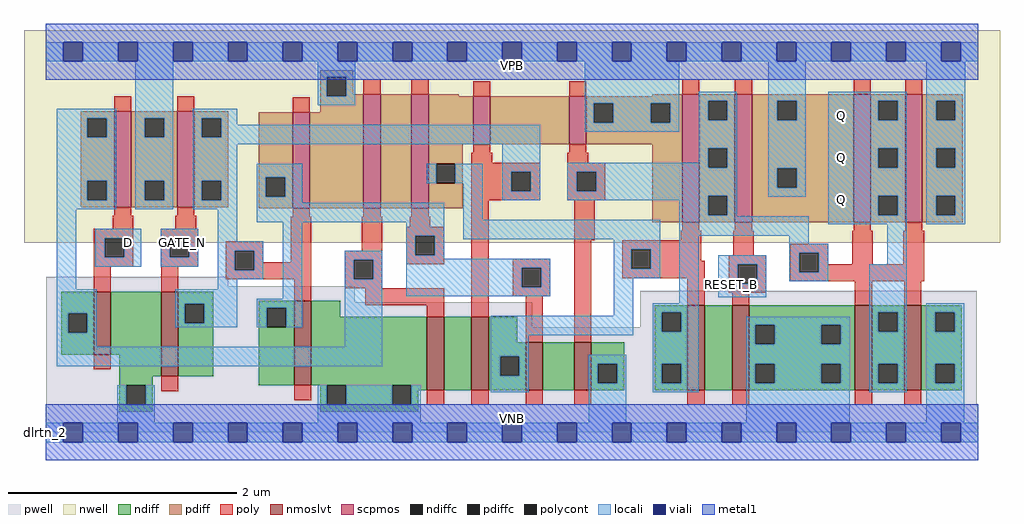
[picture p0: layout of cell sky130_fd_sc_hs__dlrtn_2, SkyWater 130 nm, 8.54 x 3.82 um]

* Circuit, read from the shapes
.subckt sky130_fd_sc_hs__dlrtn_2 D GATE_N RESET_B VGND VNB VPB VPWR Q
XM1 VGND D n1 VNB sky130_fd_pr__nfet_01v8_lvt w=0.55 l=0.15
XM2 n2 GATE_N VGND VNB sky130_fd_pr__nfet_01v8_lvt w=0.74 l=0.15
XM3 VGND n2 n3 VNB sky130_fd_pr__nfet_01v8_lvt w=0.74 l=0.15
XM4 n4 n1 VGND VNB sky130_fd_pr__nfet_01v8_lvt w=0.64 l=0.15
XM5 n5 n2 n4 VNB sky130_fd_pr__nfet_01v8_lvt w=0.64 l=0.15
XM6 n6 n3 n5 VNB sky130_fd_pr__nfet_01v8_lvt w=0.42 l=0.15
XM7 VGND n7 n6 VNB sky130_fd_pr__nfet_01v8_lvt w=0.42 l=0.15
XM8 n8 n5 n7 VNB sky130_fd_pr__nfet_01v8_lvt w=0.74 l=0.15
XM9 VGND RESET_B n8 VNB sky130_fd_pr__nfet_01v8_lvt w=0.74 l=0.15
XM10 Q n7 VGND VNB sky130_fd_pr__nfet_01v8_lvt w=0.74 l=0.15 m=2
XM11 VPWR D n1 VPB sky130_fd_pr__pfet_01v8 w=0.84 l=0.15
XM12 n2 GATE_N VPWR VPB sky130_fd_pr__pfet_01v8 w=0.84 l=0.15
XM13 VPWR n2 n3 VPB sky130_fd_pr__pfet_01v8 w=0.84 l=0.15
XM14 n9 n1 VPWR VPB sky130_fd_pr__pfet_01v8 w=1 l=0.15
XM15 n5 n3 n9 VPB sky130_fd_pr__pfet_01v8 w=1 l=0.15
XM16 n10 n2 n5 VPB sky130_fd_pr__pfet_01v8 w=0.42 l=0.15
XM17 VPWR n7 n10 VPB sky130_fd_pr__pfet_01v8 w=0.42 l=0.15
XM18 n7 n5 VPWR VPB sky130_fd_pr__pfet_01v8 w=1.12 l=0.15
XM19 VPWR RESET_B n7 VPB sky130_fd_pr__pfet_01v8 w=1.12 l=0.15
XM20 Q n7 VPWR VPB sky130_fd_pr__pfet_01v8 w=1.12 l=0.15 m=2
.ends

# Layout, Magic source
magic
tech sky130A
magscale 1 2
<< nwell >>
rect -38 332 1670 704
<< pwell >>
rect 1 256 319 272
rect 1 228 541 256
rect 1 184 851 228
rect 1040 184 1629 248
rect 1 49 1629 184
rect 0 0 1632 49
<< scpmos >>
rect 120 394 150 562
rect 230 394 260 562
rect 432 392 462 560
rect 556 392 586 592
rect 640 392 670 592
rect 748 504 778 588
rect 916 504 946 588
rect 1114 368 1144 592
rect 1206 368 1236 592
rect 1414 368 1444 592
rect 1504 368 1534 592
<< nmoslvt >>
rect 84 136 114 246
rect 202 98 232 246
rect 435 82 465 230
rect 667 74 697 202
rect 745 74 775 202
rect 840 74 870 158
rect 925 74 955 158
rect 1123 74 1153 222
rect 1201 74 1231 222
rect 1416 74 1446 222
rect 1502 74 1532 222
<< ndiff >>
rect 27 208 84 246
rect 27 174 39 208
rect 73 174 84 208
rect 27 136 84 174
rect 114 136 202 246
rect 129 98 202 136
rect 232 225 293 246
rect 232 191 243 225
rect 277 191 293 225
rect 232 98 293 191
rect 373 218 435 230
rect 373 184 387 218
rect 421 184 435 218
rect 129 82 187 98
rect 129 48 141 82
rect 175 48 187 82
rect 373 82 435 184
rect 465 202 515 230
rect 465 82 667 202
rect 129 36 187 48
rect 480 48 492 82
rect 526 48 606 82
rect 640 74 667 82
rect 697 74 745 202
rect 775 158 825 202
rect 1066 210 1123 222
rect 1066 176 1078 210
rect 1112 176 1123 210
rect 775 133 840 158
rect 775 99 795 133
rect 829 99 840 133
rect 775 74 840 99
rect 870 74 925 158
rect 955 120 1012 158
rect 955 86 966 120
rect 1000 86 1012 120
rect 955 74 1012 86
rect 1066 120 1123 176
rect 1066 86 1078 120
rect 1112 86 1123 120
rect 1066 74 1123 86
rect 1153 74 1201 222
rect 1231 188 1416 222
rect 1231 154 1242 188
rect 1276 154 1357 188
rect 1391 154 1416 188
rect 1231 120 1416 154
rect 1231 86 1242 120
rect 1276 86 1357 120
rect 1391 86 1416 120
rect 1231 74 1416 86
rect 1446 210 1502 222
rect 1446 176 1457 210
rect 1491 176 1502 210
rect 1446 120 1502 176
rect 1446 86 1457 120
rect 1491 86 1502 120
rect 1446 74 1502 86
rect 1532 210 1603 222
rect 1532 176 1557 210
rect 1591 176 1603 210
rect 1532 120 1603 176
rect 1532 86 1557 120
rect 1591 86 1603 120
rect 1532 74 1603 86
rect 640 48 652 74
rect 480 36 652 48
<< pdiff >>
rect 480 622 538 634
rect 480 588 492 622
rect 526 592 538 622
rect 526 588 556 592
rect 61 550 120 562
rect 61 516 73 550
rect 107 516 120 550
rect 61 440 120 516
rect 61 406 73 440
rect 107 406 120 440
rect 61 394 120 406
rect 150 550 230 562
rect 150 516 173 550
rect 207 516 230 550
rect 150 440 230 516
rect 150 406 173 440
rect 207 406 230 440
rect 150 394 230 406
rect 260 550 319 562
rect 480 560 556 588
rect 260 516 273 550
rect 307 516 319 550
rect 260 440 319 516
rect 260 406 273 440
rect 307 406 319 440
rect 260 394 319 406
rect 373 446 432 560
rect 373 412 385 446
rect 419 412 432 446
rect 373 392 432 412
rect 462 392 556 560
rect 586 392 640 592
rect 670 588 723 592
rect 1061 588 1114 592
rect 670 504 748 588
rect 778 504 916 588
rect 946 576 1114 588
rect 946 542 959 576
rect 993 542 1059 576
rect 1093 542 1114 576
rect 946 504 1114 542
rect 670 470 730 504
rect 670 436 683 470
rect 717 436 730 470
rect 670 392 730 436
rect 1061 368 1114 504
rect 1144 580 1206 592
rect 1144 546 1159 580
rect 1193 546 1206 580
rect 1144 497 1206 546
rect 1144 463 1159 497
rect 1193 463 1206 497
rect 1144 414 1206 463
rect 1144 380 1159 414
rect 1193 380 1206 414
rect 1144 368 1206 380
rect 1236 580 1414 592
rect 1236 546 1280 580
rect 1314 546 1414 580
rect 1236 462 1414 546
rect 1236 428 1280 462
rect 1314 428 1414 462
rect 1236 368 1414 428
rect 1444 580 1504 592
rect 1444 546 1457 580
rect 1491 546 1504 580
rect 1444 497 1504 546
rect 1444 463 1457 497
rect 1491 463 1504 497
rect 1444 414 1504 463
rect 1444 380 1457 414
rect 1491 380 1504 414
rect 1444 368 1504 380
rect 1534 580 1605 592
rect 1534 546 1558 580
rect 1592 546 1605 580
rect 1534 497 1605 546
rect 1534 463 1558 497
rect 1592 463 1605 497
rect 1534 414 1605 463
rect 1534 380 1558 414
rect 1592 380 1605 414
rect 1534 368 1605 380
<< ndiffc >>
rect 39 174 73 208
rect 243 191 277 225
rect 387 184 421 218
rect 141 48 175 82
rect 492 48 526 82
rect 606 48 640 82
rect 1078 176 1112 210
rect 795 99 829 133
rect 966 86 1000 120
rect 1078 86 1112 120
rect 1242 154 1276 188
rect 1357 154 1391 188
rect 1242 86 1276 120
rect 1357 86 1391 120
rect 1457 176 1491 210
rect 1457 86 1491 120
rect 1557 176 1591 210
rect 1557 86 1591 120
<< pdiffc >>
rect 492 588 526 622
rect 73 516 107 550
rect 73 406 107 440
rect 173 516 207 550
rect 173 406 207 440
rect 273 516 307 550
rect 273 406 307 440
rect 385 412 419 446
rect 959 542 993 576
rect 1059 542 1093 576
rect 683 436 717 470
rect 1159 546 1193 580
rect 1159 463 1193 497
rect 1159 380 1193 414
rect 1280 546 1314 580
rect 1280 428 1314 462
rect 1457 546 1491 580
rect 1457 463 1491 497
rect 1457 380 1491 414
rect 1558 546 1592 580
rect 1558 463 1592 497
rect 1558 380 1592 414
<< poly >>
rect 556 592 586 618
rect 640 592 670 618
rect 120 562 150 588
rect 230 562 260 588
rect 432 560 462 586
rect 120 379 150 394
rect 230 379 260 394
rect 748 588 778 614
rect 916 588 946 614
rect 1114 592 1144 618
rect 1206 592 1236 618
rect 1414 592 1444 618
rect 1504 592 1534 618
rect 748 489 778 504
rect 916 489 946 504
rect 745 472 781 489
rect 913 472 949 489
rect 745 456 865 472
rect 745 422 815 456
rect 849 422 865 456
rect 745 406 865 422
rect 913 456 979 472
rect 913 422 929 456
rect 963 422 979 456
rect 913 406 979 422
rect 117 356 153 379
rect 227 356 263 379
rect 432 377 462 392
rect 556 377 586 392
rect 640 377 670 392
rect 84 340 153 356
rect 84 306 103 340
rect 137 306 153 340
rect 84 290 153 306
rect 201 340 267 356
rect 201 306 217 340
rect 251 306 267 340
rect 201 290 267 306
rect 315 318 381 334
rect 84 246 114 290
rect 202 246 232 290
rect 315 284 331 318
rect 365 298 381 318
rect 429 298 465 377
rect 553 318 589 377
rect 637 360 673 377
rect 365 284 465 298
rect 315 268 465 284
rect 84 110 114 136
rect 435 230 465 268
rect 523 302 589 318
rect 523 268 539 302
rect 573 268 589 302
rect 631 344 697 360
rect 631 310 647 344
rect 681 310 697 344
rect 631 294 697 310
rect 523 252 589 268
rect 202 72 232 98
rect 559 222 697 252
rect 667 202 697 222
rect 745 202 775 406
rect 925 336 961 406
rect 1114 353 1144 368
rect 1206 353 1236 368
rect 1414 353 1444 368
rect 1504 353 1534 368
rect 1111 336 1147 353
rect 817 288 883 304
rect 817 254 833 288
rect 867 254 883 288
rect 817 238 883 254
rect 435 56 465 82
rect 840 158 870 238
rect 925 158 955 336
rect 1009 320 1147 336
rect 1009 286 1025 320
rect 1059 300 1147 320
rect 1203 310 1239 353
rect 1303 314 1369 330
rect 1059 286 1153 300
rect 1009 270 1153 286
rect 1123 222 1153 270
rect 1195 294 1261 310
rect 1195 260 1211 294
rect 1245 260 1261 294
rect 1303 280 1319 314
rect 1353 294 1369 314
rect 1411 294 1447 353
rect 1501 294 1537 353
rect 1353 280 1537 294
rect 1303 264 1537 280
rect 1195 244 1261 260
rect 1201 222 1231 244
rect 1416 222 1446 264
rect 1502 222 1532 264
rect 667 48 697 74
rect 745 48 775 74
rect 840 48 870 74
rect 925 48 955 74
rect 1123 48 1153 74
rect 1201 48 1231 74
rect 1416 48 1446 74
rect 1502 48 1532 74
<< polycont >>
rect 815 422 849 456
rect 929 422 963 456
rect 103 306 137 340
rect 217 306 251 340
rect 331 284 365 318
rect 539 268 573 302
rect 647 310 681 344
rect 833 254 867 288
rect 1025 286 1059 320
rect 1211 260 1245 294
rect 1319 280 1353 314
<< locali >>
rect 0 649 31 683
rect 65 649 127 683
rect 161 649 223 683
rect 257 649 319 683
rect 353 649 415 683
rect 449 649 511 683
rect 545 649 607 683
rect 641 649 703 683
rect 737 649 799 683
rect 833 649 895 683
rect 929 649 991 683
rect 1025 649 1087 683
rect 1121 649 1183 683
rect 1217 649 1279 683
rect 1313 649 1375 683
rect 1409 649 1471 683
rect 1505 649 1567 683
rect 1601 649 1632 683
rect 19 550 123 566
rect 19 516 73 550
rect 107 516 123 550
rect 19 440 123 516
rect 19 406 73 440
rect 107 406 123 440
rect 19 390 123 406
rect 157 550 223 649
rect 476 622 542 649
rect 476 588 492 622
rect 526 588 542 622
rect 476 572 542 588
rect 943 576 1109 649
rect 157 516 173 550
rect 207 516 223 550
rect 157 440 223 516
rect 157 406 173 440
rect 207 406 223 440
rect 157 390 223 406
rect 257 550 335 566
rect 257 516 273 550
rect 307 538 335 550
rect 943 542 959 576
rect 993 542 1059 576
rect 1093 542 1109 576
rect 307 516 865 538
rect 943 526 1109 542
rect 1143 580 1209 596
rect 1143 546 1159 580
rect 1193 546 1209 580
rect 257 504 865 516
rect 257 440 335 504
rect 257 406 273 440
rect 307 406 335 440
rect 257 390 335 406
rect 19 250 53 390
rect 87 340 167 356
rect 87 306 103 340
rect 137 306 167 340
rect 87 290 167 306
rect 201 340 267 356
rect 201 306 217 340
rect 251 306 267 340
rect 201 290 267 306
rect 301 334 335 390
rect 369 446 449 470
rect 369 412 385 446
rect 419 412 449 446
rect 667 436 683 470
rect 717 436 765 470
rect 369 402 449 412
rect 369 368 697 402
rect 301 318 381 334
rect 301 284 331 318
rect 365 284 381 318
rect 301 268 381 284
rect 301 250 335 268
rect 19 208 89 250
rect 19 174 39 208
rect 73 174 89 208
rect 227 225 335 250
rect 415 234 449 368
rect 631 344 697 368
rect 227 191 243 225
rect 277 191 335 225
rect 227 184 335 191
rect 369 218 449 234
rect 369 184 387 218
rect 421 184 449 218
rect 523 302 589 318
rect 523 268 539 302
rect 573 268 589 302
rect 19 150 89 174
rect 523 150 589 268
rect 631 310 647 344
rect 681 310 697 344
rect 731 372 765 436
rect 799 456 865 504
rect 1143 497 1209 546
rect 1143 472 1159 497
rect 799 422 815 456
rect 849 422 865 456
rect 799 406 865 422
rect 913 463 1159 472
rect 1193 463 1209 497
rect 913 456 1209 463
rect 913 422 929 456
rect 963 422 1209 456
rect 913 414 1209 422
rect 913 406 1159 414
rect 1109 380 1159 406
rect 1193 380 1209 414
rect 1264 580 1330 649
rect 1264 546 1280 580
rect 1314 546 1330 580
rect 1264 462 1330 546
rect 1264 428 1280 462
rect 1314 428 1330 462
rect 1264 412 1330 428
rect 1369 580 1507 596
rect 1369 546 1457 580
rect 1491 546 1507 580
rect 1369 497 1507 546
rect 1369 463 1457 497
rect 1491 463 1507 497
rect 1369 414 1507 463
rect 1109 378 1209 380
rect 1369 380 1457 414
rect 1491 380 1507 414
rect 731 338 1075 372
rect 631 304 697 310
rect 994 320 1075 338
rect 631 288 883 304
rect 631 254 833 288
rect 867 254 883 288
rect 631 238 883 254
rect 994 286 1025 320
rect 1059 286 1075 320
rect 994 270 1075 286
rect 1109 344 1335 378
rect 1369 364 1507 380
rect 1541 580 1609 649
rect 1541 546 1558 580
rect 1592 546 1609 580
rect 1541 497 1609 546
rect 1541 463 1558 497
rect 1592 463 1609 497
rect 1541 414 1609 463
rect 1541 380 1558 414
rect 1592 380 1609 414
rect 1541 364 1609 380
rect 994 204 1028 270
rect 1109 226 1143 344
rect 1301 330 1335 344
rect 1301 314 1369 330
rect 1177 294 1261 310
rect 1177 260 1211 294
rect 1245 260 1261 294
rect 1301 280 1319 314
rect 1353 280 1369 314
rect 1473 294 1507 364
rect 1301 264 1369 280
rect 1177 236 1261 260
rect 19 116 589 150
rect 779 170 1028 204
rect 1062 210 1143 226
rect 1062 176 1078 210
rect 1112 176 1143 210
rect 1441 210 1507 294
rect 779 133 845 170
rect 779 99 795 133
rect 829 99 845 133
rect 125 48 141 82
rect 175 48 191 82
rect 125 17 191 48
rect 476 48 492 82
rect 526 48 606 82
rect 640 48 656 82
rect 779 70 845 99
rect 950 120 1016 136
rect 950 86 966 120
rect 1000 86 1016 120
rect 476 17 656 48
rect 950 17 1016 86
rect 1062 120 1143 176
rect 1062 86 1078 120
rect 1112 86 1143 120
rect 1062 70 1143 86
rect 1226 188 1407 202
rect 1226 154 1242 188
rect 1276 154 1357 188
rect 1391 154 1407 188
rect 1226 120 1407 154
rect 1226 86 1242 120
rect 1276 86 1357 120
rect 1391 86 1407 120
rect 1226 17 1407 86
rect 1441 176 1457 210
rect 1491 176 1507 210
rect 1441 120 1507 176
rect 1441 86 1457 120
rect 1491 86 1507 120
rect 1441 70 1507 86
rect 1541 210 1607 226
rect 1541 176 1557 210
rect 1591 176 1607 210
rect 1541 120 1607 176
rect 1541 86 1557 120
rect 1591 86 1607 120
rect 1541 17 1607 86
rect 0 -17 31 17
rect 65 -17 127 17
rect 161 -17 223 17
rect 257 -17 319 17
rect 353 -17 415 17
rect 449 -17 511 17
rect 545 -17 607 17
rect 641 -17 703 17
rect 737 -17 799 17
rect 833 -17 895 17
rect 929 -17 991 17
rect 1025 -17 1087 17
rect 1121 -17 1183 17
rect 1217 -17 1279 17
rect 1313 -17 1375 17
rect 1409 -17 1471 17
rect 1505 -17 1567 17
rect 1601 -17 1632 17
<< viali >>
rect 31 649 65 683
rect 127 649 161 683
rect 223 649 257 683
rect 319 649 353 683
rect 415 649 449 683
rect 511 649 545 683
rect 607 649 641 683
rect 703 649 737 683
rect 799 649 833 683
rect 895 649 929 683
rect 991 649 1025 683
rect 1087 649 1121 683
rect 1183 649 1217 683
rect 1279 649 1313 683
rect 1375 649 1409 683
rect 1471 649 1505 683
rect 1567 649 1601 683
rect 31 -17 65 17
rect 127 -17 161 17
rect 223 -17 257 17
rect 319 -17 353 17
rect 415 -17 449 17
rect 511 -17 545 17
rect 607 -17 641 17
rect 703 -17 737 17
rect 799 -17 833 17
rect 895 -17 929 17
rect 991 -17 1025 17
rect 1087 -17 1121 17
rect 1183 -17 1217 17
rect 1279 -17 1313 17
rect 1375 -17 1409 17
rect 1471 -17 1505 17
rect 1567 -17 1601 17
<< metal1 >>
rect 0 683 1632 715
rect 0 649 31 683
rect 65 649 127 683
rect 161 649 223 683
rect 257 649 319 683
rect 353 649 415 683
rect 449 649 511 683
rect 545 649 607 683
rect 641 649 703 683
rect 737 649 799 683
rect 833 649 895 683
rect 929 649 991 683
rect 1025 649 1087 683
rect 1121 649 1183 683
rect 1217 649 1279 683
rect 1313 649 1375 683
rect 1409 649 1471 683
rect 1505 649 1567 683
rect 1601 649 1632 683
rect 0 617 1632 649
rect 0 17 1632 49
rect 0 -17 31 17
rect 65 -17 127 17
rect 161 -17 223 17
rect 257 -17 319 17
rect 353 -17 415 17
rect 449 -17 511 17
rect 545 -17 607 17
rect 641 -17 703 17
rect 737 -17 799 17
rect 833 -17 895 17
rect 929 -17 991 17
rect 1025 -17 1087 17
rect 1121 -17 1183 17
rect 1217 -17 1279 17
rect 1313 -17 1375 17
rect 1409 -17 1471 17
rect 1505 -17 1567 17
rect 1601 -17 1632 17
rect 0 -49 1632 -17
<< labels >>
rlabel comment s 0 0 0 0 4 dlrtn_2
flabel pwell s 0 0 1632 49 0 FreeSans 200 0 0 0 VNB
port 5 nsew ground bidirectional
flabel nwell s 0 617 1632 666 0 FreeSans 200 0 0 0 VPB
port 6 nsew power bidirectional
flabel metal1 s 0 617 1632 666 0 FreeSans 340 0 0 0 VPWR
port 7 nsew power bidirectional
flabel metal1 s 0 0 1632 49 0 FreeSans 340 0 0 0 VGND
port 4 nsew ground bidirectional
flabel locali s 127 316 161 350 0 FreeSans 340 0 0 0 D
port 1 nsew signal input
flabel locali s 223 316 257 350 0 FreeSans 340 0 0 0 GATE_N
port 2 nsew clock input
flabel locali s 1183 242 1217 276 0 FreeSans 340 0 0 0 RESET_B
port 3 nsew signal input
flabel locali s 1375 390 1409 424 0 FreeSans 340 0 0 0 Q
port 8 nsew signal output
flabel locali s 1375 464 1409 498 0 FreeSans 340 0 0 0 Q
port 8 nsew signal output
flabel locali s 1375 538 1409 572 0 FreeSans 340 0 0 0 Q
port 8 nsew signal output
<< properties >>
string LEFsite unit
string LEFclass CORE
string FIXED_BBOX 0 0 1632 666
string GDS_FILE $PDKPATH/libs.ref/sky130_fd_sc_hs/gds/sky130_fd_sc_hs.gds
string LEFsymmetry X Y
string GDS_END 1616876
string GDS_START 1605248
<< end >>
